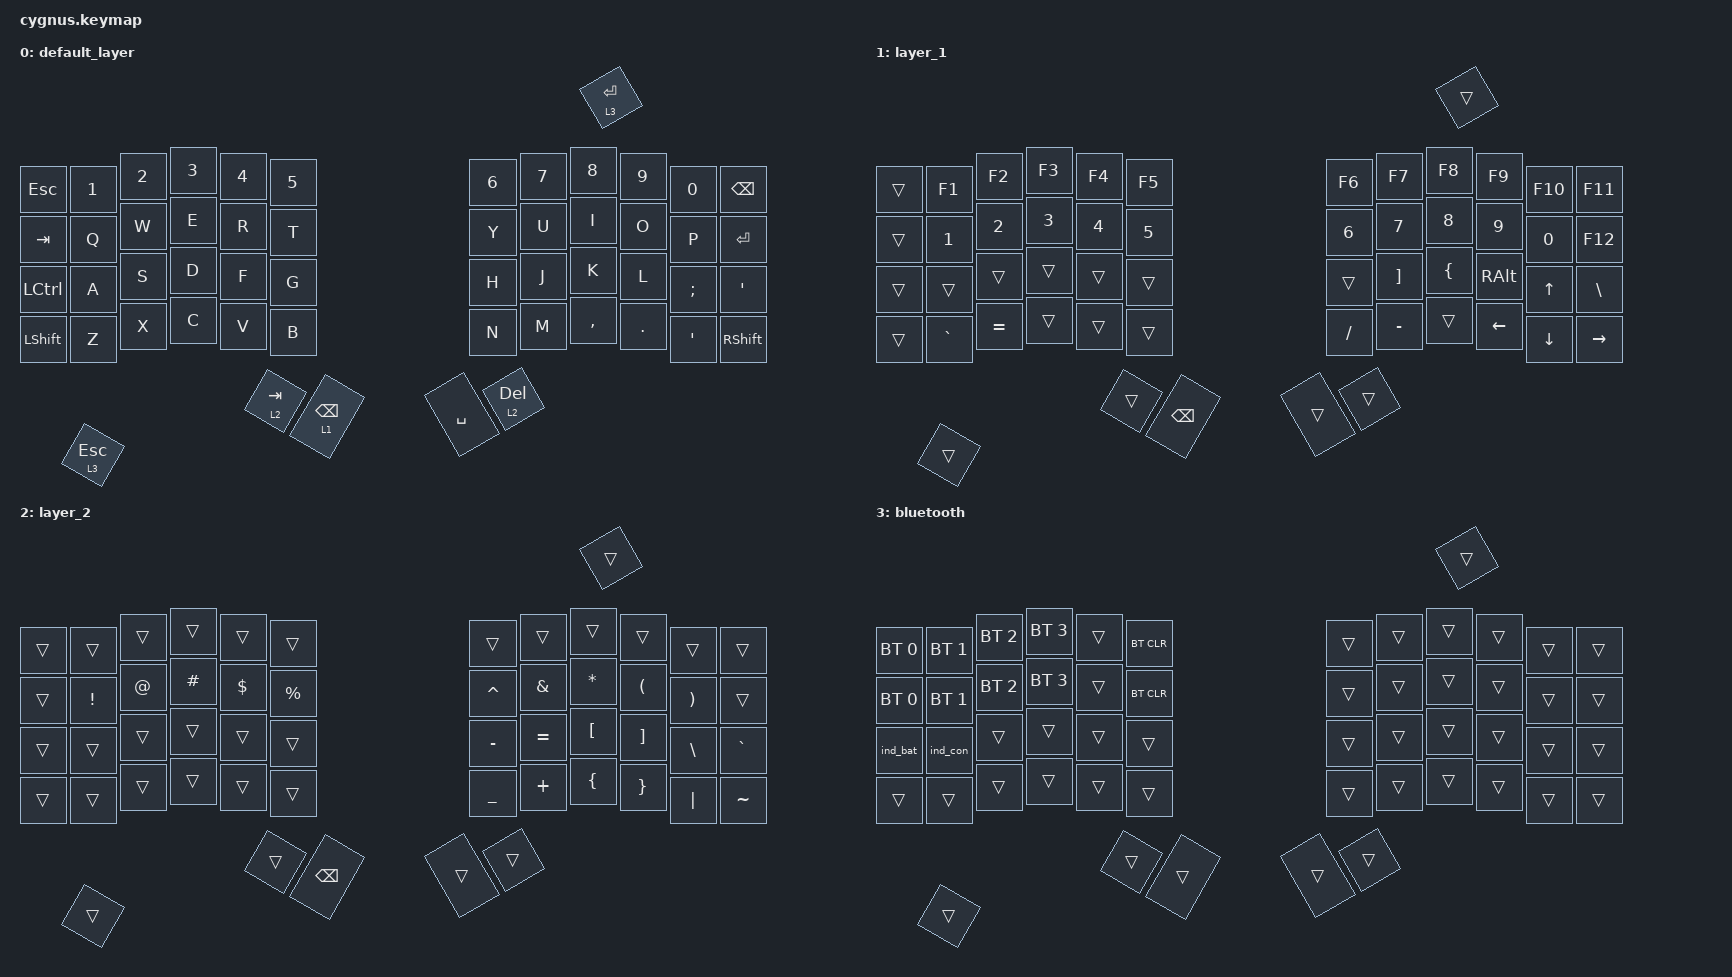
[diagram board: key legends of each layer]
#include <behaviors.dtsi>
#include <dt-bindings/zmk/bt.h>
#include <dt-bindings/zmk/keys.h>

/ {
    combos {
        compatible = "zmk,combos";

        bluetooth {
            bindings = <&mo 3>;
            key-positions = <41 36>;
        };

        bt2 {
            bindings = <&mo 3>;
            key-positions = <48 53>;
        };
    };

    keymap {
        compatible = "zmk,keymap";

        default_layer {
            // -----------------------------------------------------------------------------------------
            // |  ESC |  1  |  2  |  3  |  4  |  5  |   |  6  |  7   |  8  |  9  |  0  |  ?   |
            // |  TAB |  Q  |  W  |  E  |  R  |  T  |   |  Y  |  U   |  I  |  O  |  P  | BKSP |
            // | CTRL |  A  |  S  |  D  |  F  |  G  |   |  H  |  J   |  K  |  L  |  ;  |  '   |
            // | SHFT |  Z  |  X  |  C  |  V  |  B  |   |  N  |  M   |  ,  |  .  |  /  | ESC  |
            //                    | GUI | LWR | SPC |   | ENT | RSE  | ALT |

            bindings = <
&kp ESCAPE  &kp N1  &kp N2            &kp N3           &kp N4               &kp N5             &kp N6     &kp N7                &kp N8            &kp N9            &kp N0            &kp BSPC
&kp TAB     &kp Q   &kp W             &kp E            &kp R                &kp T              &kp Y      &kp U                 &kp I             &kp O             &kp P             &kp ENTER
&kp LCTRL   &kp A   &kp S  &kp D  &kp F    &kp G              &kp H      &kp J    &kp K  &kp L  &kp SEMI          &kp SQT
&kp LSHFT   &kp Z   &kp X             &kp C            &kp V  &kp B              &kp N      &kp M  &kp COMMA         &kp DOT           &kp SINGLE_QUOTE  &kp RIGHT_SHIFT
                                      &lt 3 ESC        &lt 2 TAB            &lt 1 BACKSPACE    &kp SPACE  &lt 2 DEL             &lt 3 ENTER
            >;
        };

        layer_1 {
            // -----------------------------------------------------------------------------------------
            // |  TAB |  F1 |  F2 |  F3 |  F4 |  F5 |   |  F6 |  F7 |  F8 |  F9 | F10 | BKSP |
            // |  TAB |  1  |  2  |  3  |  4  |  5  |   |  6  |  7  |  8  |  9  |  0  | BKSP |
            // | BTCLR| BT1 | BT2 | BT3 | BT4 | BT5 |   | LFT | DWN |  UP | RGT |     |      |
            // | SHFT |     |     |     |     |     |   |     |     |     |     |     |      |
            //                    | GUI |     | SPC |   | ENT |     | ALT |

            bindings = <
&trans  &kp F1        &kp F2        &kp F3        &kp F4        &kp F5           &kp F6     &kp F7                          &kp F8                     &kp F9         &kp F10       &kp F11
&trans  &kp NUMBER_1  &kp NUMBER_2  &kp NUMBER_3  &kp NUMBER_4  &kp N5           &kp N6     &kp N7                          &kp N8                     &kp N9         &kp N0        &kp F12
&trans  &trans        &trans        &trans        &trans        &trans           &trans     &kp RIGHT_BRACKET  &kp LEFT_BRACE  &kp RIGHT_ALT  &kp UP_ARROW  &kp BSLH
&trans  &kp GRAVE     &kp EQUAL     &trans        &trans        &trans           &kp SLASH  &kp MINUS                       &trans                     &kp LEFT       &kp DOWN      &kp RIGHT
                                    &trans        &trans        &kp BACKSPACE    &trans     &trans                          &trans
            >;
        };

        layer_2 {
            // -----------------------------------------------------------------------------------------
            // |  TAB |  !  |  @  |  #  |  $  |  %  |   |  ^  |  &  |  *  |  (  |  )  | BKSP |
            // | CTRL |     |     |     |     |     |   |  -  |  =  |  [  |  ]  |  \  |  `   |
            // | SHFT |     |     |     |     |     |   |  _  |  +  |  {  |  }  | "|" |  ~   |
            //                    | GUI |     | SPC |   | ENT |     | ALT |

            bindings = <
&trans  &trans    &trans  &trans    &trans    &trans           &trans     &trans     &trans     &trans    &trans    &trans
&trans  &kp EXCL  &kp AT  &kp HASH  &kp DLLR  &kp PRCNT        &kp CARET  &kp AMPS   &kp ASTRK  &kp LPAR  &kp RPAR  &trans
&trans  &trans    &trans  &trans    &trans    &trans           &kp MINUS  &kp EQUAL  &kp LBKT   &kp RBKT  &kp BSLH  &kp GRAVE
&trans  &trans    &trans  &trans    &trans    &trans           &kp UNDER  &kp PLUS   &kp LBRC   &kp RBRC  &kp PIPE  &kp TILDE
                          &trans    &trans    &kp BACKSPACE    &trans     &trans     &trans
            >;
        };

        bluetooth {
            bindings = <
&bt BT_SEL 0  &bt BT_SEL 1  &bt BT_SEL 2  &bt BT_SEL 3  &trans  &bt BT_CLR    &trans  &trans  &trans  &trans  &trans  &trans
&bt BT_SEL 0  &bt BT_SEL 1  &bt BT_SEL 2  &bt BT_SEL 3  &trans  &bt BT_CLR    &trans  &trans  &trans  &trans  &trans  &trans
&ind_bat      &ind_con      &trans        &trans        &trans  &trans        &trans  &trans  &trans  &trans  &trans  &trans
&trans        &trans        &trans        &trans        &trans  &trans        &trans  &trans  &trans  &trans  &trans  &trans
                                          &trans        &trans  &trans        &trans  &trans  &trans
            >;
        };
    };
};
